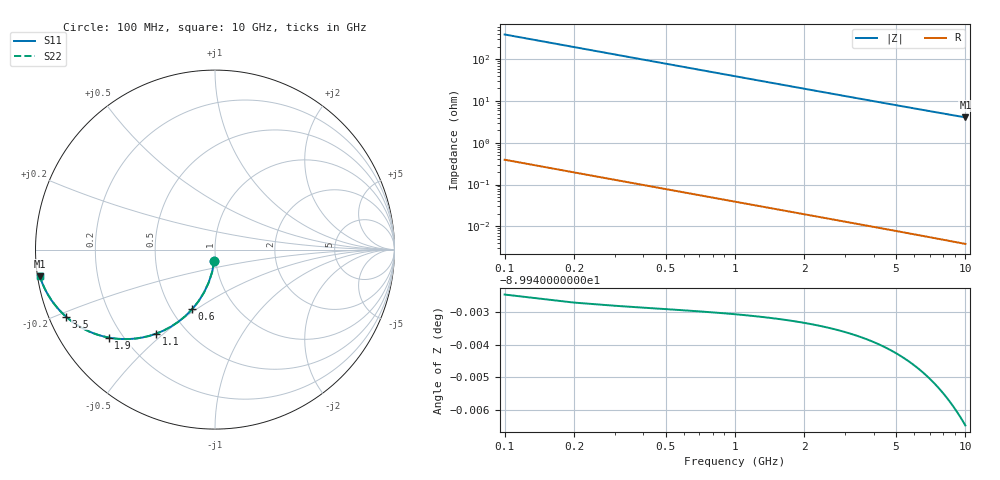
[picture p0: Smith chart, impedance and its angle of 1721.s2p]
# Hz S RI R 50.00
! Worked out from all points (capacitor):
!   100 points, 100 MHz to 10 GHz, reference 50 ohm
!   read as one part in shunt: C = 4.06 pF near 100 MHz
!   lowest |Z| = 4.07 ohm at 10 GHz (marker M1)
!   S11 on the Smith chart (normalised r, x): 100 MHz: 0.98, -0.13; 600 MHz: 0.63, -0.48; 1.1 GHz: 0.34, -0.47; 1.9 GHz: 0.15, -0.35; 3.5 GHz: 0.05, -0.21; 10 GHz: 0.01, -0.08
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1e8  -0.0041 -0.0634  0.9959 -0.0635  0.9959 -0.0635  -0.0041 -0.0634
2e8  -0.0161 -0.1253  0.9839 -0.1255  0.9839 -0.1255  -0.0161 -0.1253
3e8  -0.0354 -0.1842  0.9646 -0.1845  0.9646 -0.1845  -0.0354 -0.1842
4e8  -0.0612 -0.239  0.9388 -0.2394  0.9388 -0.2394  -0.0612 -0.239
5e8  -0.0923 -0.2888  0.9076 -0.2893  0.9076 -0.2893  -0.0923 -0.2888
6e8  -0.1277 -0.333  0.8723 -0.3335  0.8723 -0.3335  -0.1277 -0.333
8e8  -0.2062 -0.4038  0.7937 -0.4045  0.7937 -0.4045  -0.2062 -0.4038
9e8  -0.2474 -0.4306  0.7526 -0.4314  0.7526 -0.4314  -0.2474 -0.4306
1.1e9  -0.329 -0.4689  0.671 -0.4699  0.671 -0.4699  -0.329 -0.4689
1.4e9  -0.4422 -0.4955  0.5578 -0.4968  0.5578 -0.4968  -0.4422 -0.4955
1.8e9  -0.5666 -0.4942  0.4333 -0.4959  0.4333 -0.4959  -0.5666 -0.4942
1.9e9  -0.5929 -0.4899  0.4071 -0.4917  0.4071 -0.4917  -0.5929 -0.4899
2.2e9  -0.6609 -0.4719  0.3391 -0.4739  0.3391 -0.4739  -0.6609 -0.4719
2.6e9  -0.731 -0.4418  0.269 -0.4441  0.269 -0.4441  -0.731 -0.4418
3e9  -0.7831 -0.4102  0.2169 -0.413  0.2169 -0.413  -0.7831 -0.4102
3.4e9  -0.8224 -0.3801  0.1776 -0.3832  0.1776 -0.3832  -0.8224 -0.3801
3.5e9  -0.8306 -0.3729  0.1693 -0.3762  0.1693 -0.3762  -0.8306 -0.3729
4.2e9  -0.8757 -0.3275  0.1243 -0.3313  0.1243 -0.3313  -0.8757 -0.3275
5.1e9  -0.912 -0.2804  0.088 -0.2851  0.088 -0.2851  -0.912 -0.2804
6.7e9  -0.9469 -0.2205  0.053 -0.2267  0.053 -0.2267  -0.9469 -0.2205
8.4e9  -0.9656 -0.1778  0.0344 -0.1857  0.0344 -0.1857  -0.9656 -0.1778
1e10  -0.9755 -0.1493  0.0244 -0.1587  0.0244 -0.1587  -0.9755 -0.1493
